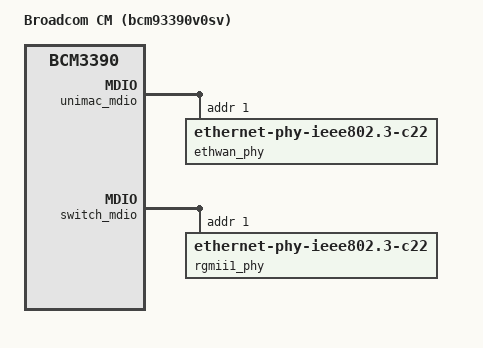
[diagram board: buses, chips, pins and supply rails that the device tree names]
/dts-v1/;

/ {
	model = "Broadcom CM (bcm93390v0sv)";
	compatible = "brcm,bcm93390v0sv",
		     "brcm,bcm3390v0",
		     "brcm,bcm3390",
		     "brcm,brcmcm", "brcm,brcmstb";
	subsystem = "rg";
	#address-cells = <0x2>;
	#size-cells = <0x2>;
	interrupt-parent = <&gic>;

	identifier@0 {
                            /* chip id    mfg id     a/c pwr    don't park */
                chipid_reg = < 0x20404000 0x204e6120 0x03800080 0x20410068 >;
                chipid_msk = < 0xffffffff 0x0000f000 0x00000000 0x00000001 >;
                chipid_val = < 0x33900010 0x00005000 0x00000000 0x00000000 >;
			     /* VSV */
		boardid_msk = < 0xf0 >;
		boardid_val = < 0xc0 >;
	};
};

/include/ "rg.3390b0-bolt.dtsi"
/include/ "rg.3390-base.dtsi"
/include/ "rg.3390s0-sgmii.dtsi"
/include/ "rg.3390-ethwan.dtsi"
/include/ "rg.3390v0-bolt.dtsi"

/********************************************************************
 * any nodes that appear below are platform specific additions and
 * replacements.
 * The dtc will add or replace any properties in the nodes
 * below to the same nodes that appear in include files above.
 * If the property does not exist in the node above it will be added.
 * If the property does exist it will replace it.
 ********************************************************************/
&mbox {
	override-bmu-state;
};

&ethsw {
	led-map = <0x85>;
};

&sw_p7_phy {
	reg = <31>;
};

&unimac_mdio {
	ethwan_phy: phy@1 {
		/* B50212E B1 on VSV */
		compatible = "ethernet-phy-ieee802.3-c22";
		reg = <1>;
	};
};

&switch_mdio {
	rgmii1_phy: phy@1 {
		/* B50212E B1 on VSV */
		compatible = "ethernet-phy-ieee802.3-c22";
		reg = <1>;
	};
};

/ {
	chosen {
		filename = "rg.3390v0-sv.dtb";
	};
};
